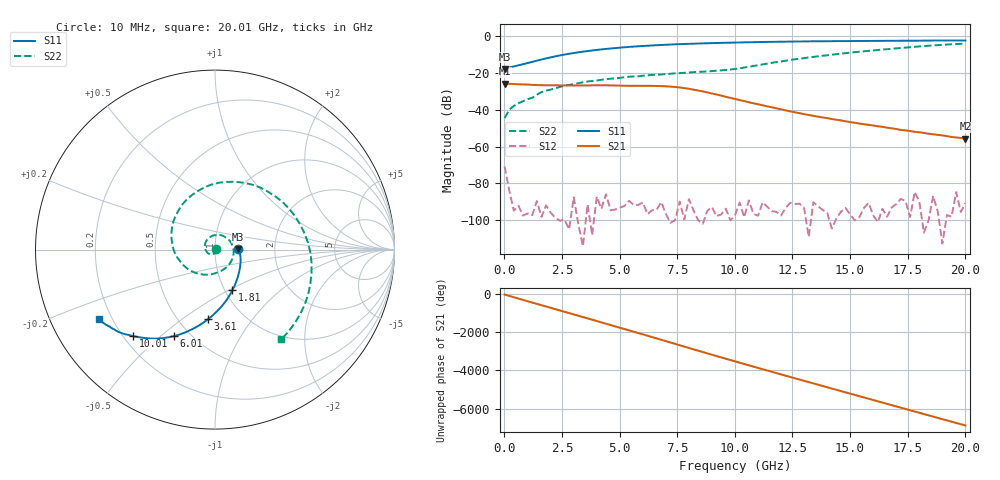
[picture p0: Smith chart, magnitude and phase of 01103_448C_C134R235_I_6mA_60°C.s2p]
!;Filter: kein Filter
!auto
!3/21/2019 9:27:54 AM
!3/21/2019 9:28:10 AM
!SP-Measurements Prober G4
!SP-Measurements Prober G4
!01103_448C
!134
!235
!12
!60
!-20
!0.00599970
!2.02
!0.74959551
!0.74959551
# Hz S  RI  R 50
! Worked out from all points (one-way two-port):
!   101 points, 10 MHz to 20.01 GHz, reference 50 ohm
!   highest |S21| = -25.90 dB at 10 MHz (marker M1); lowest = -55.7 dB at 20.01 GHz (marker M2)
!   lowest |S11| = -17.9 dB at 10 MHz (marker M3), VSWR 1.29, Z = 64.5 + j0.44 ohm
!   |S11| at or under -10 dB: start of sweep to 2.658 GHz
!   |S22| runs from -44.6 to -4.1 dB; largest |S21 - S12| = 0.051
!   S11 on the Smith chart (normalised r, x): 10 MHz: 1.29, +0.01; 1.81 GHz: 1.08, -0.52; 3.61 GHz: 0.69, -0.63; 6.01 GHz: 0.41, -0.55; 10.01 GHz: 0.24, -0.41; 20.01 GHz: 0.15, -0.27
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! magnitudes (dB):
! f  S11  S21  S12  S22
! 10 MHz  -17.9  -25.9  -70.8  -44.6
! 210 MHz  -17.1  -26.0  -83.8  -40.1
! 410 MHz  -16.5  -26.1  -94.8  -37.9
! 610 MHz  -15.9  -26.2  -92.0  -36.5
! 1.01 GHz  -14.7  -26.4  -96.3  -34.3
! 1.21 GHz  -14.1  -26.6  -97.2  -33.5
! 1.61 GHz  -12.8  -26.7  -98.2  -30.4
! 1.81 GHz  -12.2  -26.8  -91.9  -29.6
! 2.61 GHz  -10.1  -26.8  -99.6  -26.9
! 3.41 GHz  -8.5  -26.8  -114.0  -25.1
! 3.61 GHz  -8.2  -26.8  -91.4  -24.7
! 6.01 GHz  -5.4  -27.1  -90.3  -21.6
! 6.81 GHz  -4.9  -27.2  -90.1  -20.9
! 7.41 GHz  -4.5  -27.7  -99.9  -20.3
! 8.01 GHz  -4.3  -28.7  -88.5  -19.8
! 8.81 GHz  -4.0  -30.6  -94.8  -19.2
! 10.01 GHz  -3.6  -34.2  -97.3  -17.9
! 11.61 GHz  -3.2  -38.7  -95.0  -14.6
! 13.41 GHz  -2.9  -43.3  -90.2  -11.4
! 16.81 GHz  -2.6  -50.1  -93.1  -7.0
! 18.41 GHz  -2.5  -53.0  -100.1  -5.3
! 20.01 GHz  -2.5  -55.7  -90.7  -4.1
